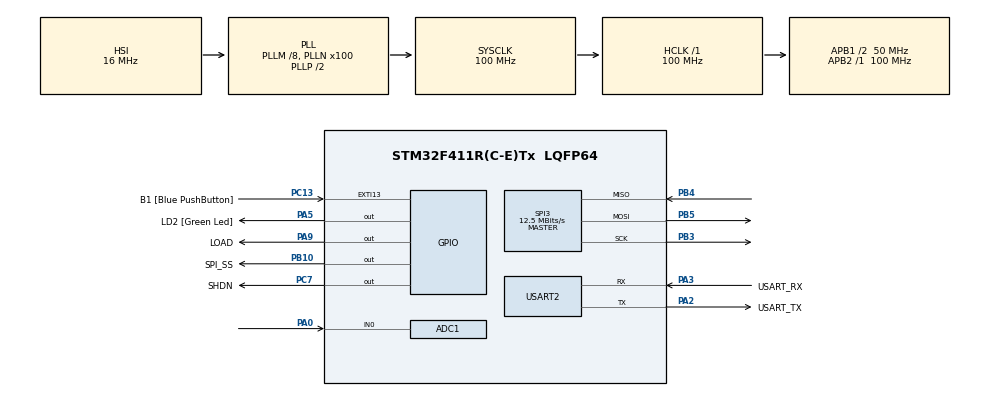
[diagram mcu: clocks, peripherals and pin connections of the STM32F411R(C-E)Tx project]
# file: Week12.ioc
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Mcu.Family=STM32F4
PB10.PinState=GPIO_PIN_SET
RCC.CortexFreq_Value=100000000
SPI3.Direction=SPI_DIRECTION_2LINES
SPI3.VirtualType=VM_MASTER
PA14.GPIO_Label=TCK
RCC.SYSCLKSource=RCC_SYSCLKSOURCE_PLLCLK
ProjectManager.StackSize=0x400
NVIC.ADC_IRQn=true\:0\:0\:false\:false\:true\:true\:true
PH0\ -\ OSC_IN.Signal=RCC_OSC_IN
RCC.HCLKFreq_Value=100000000
RCC.APB2TimFreq_Value=100000000
TIM3.Period=100
Dma.ADC1.0.Direction=DMA_PERIPH_TO_MEMORY
PC7.Signal=GPIO_Output
NVIC.DMA2_Stream0_IRQn=true\:0\:0\:false\:false\:true\:false\:true
Dma.ADC1.0.MemDataAlignment=DMA_MDATAALIGN_HALFWORD
RCC.AHBFreq_Value=100000000
SPI3.DataSize=SPI_DATASIZE_16BIT
ADC1.Channel-0\#ChannelRegularConversion=ADC_CHANNEL_0
NVIC.TIM1_TRG_COM_TIM11_IRQn=true\:0\:0\:false\:false\:true\:true\:true
RCC.HSE_VALUE=8000000
PB3.Mode=Full_Duplex_Master
ADC1.ScanConvMode=ENABLE
PC13-ANTI_TAMP.Signal=GPXTI13
PB4.Mode=Full_Duplex_Master
PC14-OSC32_IN.Mode=LSE-External-Oscillator
PA14.Mode=Serial_Wire
TIM3.Prescaler=99
Dma.ADC1.0.PeriphInc=DMA_PINC_DISABLE
PB5.Mode=Full_Duplex_Master
PC7.PinState=GPIO_PIN_SET
SH.ADCx_IN0.0=ADC1_IN0,IN0
ADC1.SamplingTime-0\#ChannelRegularConversion=ADC_SAMPLETIME_3CYCLES
RCC.FLatency-AdvancedSettings=FLASH_LATENCY_3
Mcu.Package=LQFP64
SPI3.Mode=SPI_MODE_MASTER
USART2.VirtualMode=VM_ASYNC
PA2.GPIO_Label=USART_TX
NVIC.SPI3_IRQn=true\:0\:0\:false\:false\:true\:true\:true
RCC.APB1TimFreq_Value=100000000
Dma.ADC1.0.FIFOMode=DMA_FIFOMODE_DISABLE
Dma.Request0=ADC1
VP_TIM3_VS_ClockSourceINT.Mode=Internal
PB4.Signal=SPI3_MISO
PA3.Signal=USART2_RX
PC15-OSC32_OUT.Mode=LSE-External-Oscillator
Dma.ADC1.0.Instance=DMA2_Stream0
ADC1.Rank-0\#ChannelRegularConversion=1
PC13-ANTI_TAMP.GPIO_Label=B1 [Blue PushButton]
PA9.GPIO_Label=LOAD
PH1\ -\ OSC_OUT.Mode=HSE-External-Clock-Source
TIM11.Prescaler=99
RCC.APB1CLKDivider=RCC_HCLK_DIV2
PC14-OSC32_IN.Signal=RCC_OSC32_IN
PA0-WKUP.Signal=ADCx_IN0
VP_TIM11_VS_ClockSourceINT.Mode=Enable_Timer
PA13.Signal=SYS_JTMS-SWDIO
PA3.Mode=Asynchronous
Dma.ADC1.0.PeriphDataAlignment=DMA_PDATAALIGN_HALFWORD
PH0\ -\ OSC_IN.Mode=HSE-External-Clock-Source
ProjectManager.TargetToolchain=STM32CubeIDE
PB10.GPIO_Label=SPI_SS
Dma.ADC1.0.Mode=DMA_NORMAL
Dma.ADC1.0.Priority=DMA_PRIORITY_LOW
PA9.Signal=GPIO_Output
PA9.PinState=GPIO_PIN_SET
PC15-OSC32_OUT.Signal=RCC_OSC32_OUT
PB10.Signal=GPIO_Output
PA5.Signal=GPIO_Output
PH1\ -\ OSC_OUT.Signal=RCC_OSC_OUT
board=NUCLEO-F411RE
RCC.VCOOutputFreq_Value=200000000
RCC.APB2Freq_Value=100000000
SPI3.CalculateBaudRate=12.5 MBits/s
SPI3.BaudRatePrescaler=SPI_BAUDRATEPRESCALER_4
ADC1.DMAContinuousRequests=ENABLE
PA13.Mode=Serial_Wire
Mcu.Name=STM32F411R(C-E)Tx
PA2.Signal=USART2_TX
PA13.GPIO_Label=TMS
ADC1.ExternalTrigConv=ADC_EXTERNALTRIGCONV_T3_TRGO
PC7.GPIO_Label=SHDN
RCC.48MHZClocksFreq_Value=50000000
PB3.Signal=SPI3_SCK
RCC.SYSCLKFreq_VALUE=100000000
PB5.Signal=SPI3_MOSI
ADC1.master=1
PA5.GPIO_Label=LD2 [Green Led]
PC13-ANTI_TAMP.GPIO_ModeDefaultEXTI=GPIO_MODE_IT_FALLING
PA14.Signal=SYS_JTCK-SWCLK
Dma.ADC1.0.MemInc=DMA_MINC_ENABLE
ProjectManager.HeapSize=0x200
RCC.HSI_VALUE=16000000
NVIC.PriorityGroup=NVIC_PRIORITYGROUP_0
ADC1.NbrOfConversionFlag=1
RCC.PLLM=8
RCC.PLLN=100
PA2.Mode=Asynchronous
TIM3.TIM_MasterOutputTrigger=TIM_TRGO_UPDATE
RCC.APB1Freq_Value=50000000
PA3.GPIO_Label=USART_RX

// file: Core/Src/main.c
/* USER CODE BEGIN Header */
/**
 ******************************************************************************
 * @file           : main.c
 * @brief          : Main program body
 ******************************************************************************
 * @attention
 *
 * <h2><center>&copy; Copyright (c) 2021 STMicroelectronics.
 * All rights reserved.</center></h2>
 *
 * This software component is licensed by ST under BSD 3-Clause license,
 * the "License"; You may not use this file except in compliance with the
 * License. You may obtain a copy of the License at:
 *                        opensource.org/licenses/BSD-3-Clause
 *
 ******************************************************************************
 */
/* USER CODE END Header */
#include "main.h"

/* USER CODE BEGIN Includes */
#include <math.h>
#include <stdio.h>
#include <string.h>
/* USER CODE END Includes */

ADC_HandleTypeDef hadc1;
DMA_HandleTypeDef hdma_adc1;
SPI_HandleTypeDef hspi3;
TIM_HandleTypeDef htim3;
TIM_HandleTypeDef htim11;
UART_HandleTypeDef huart2;
char TxDataBuffer[32] = {0};
char RxDataBuffer[32] = {0};
char temp[100] = {0};
char frequency[100] = {0};
char V_high[100] = {0};
char V_low[100] = {0};
uint32_t State = 0;
int16_t inputchar = 0;
float  f = 1;
float  Vh = 0;
float  Vl = 0;
int Duty = 0;
int Check = 0;
int16_t sinewave = 0;
int16_t sawtooth = 0;
int16_t square = 0;
int Check_Slope = 0;
enum _State
{
	State_Start = 0,
	State_Mainmenu_Print = 10,
	State_Mainmenu_WaitInput,
	State_Menu0_Print = 20,
	State_Menu0_WaitInput,
	State_Menu1_Print = 30,
	State_Menu1_WaitInput,
	State_Menu2_Print = 40,
	State_Menu2_WaitInput
};

/* USER CODE BEGIN PV */
uint16_t ADCin = 0;
uint64_t _micro = 0;
uint16_t dataOut = 0;
uint8_t DACConfig = 0b0011;
/* USER CODE END PV */

void SystemClock_Config(void);
static void MX_GPIO_Init(void);
static void MX_DMA_Init(void);
static void MX_USART2_UART_Init(void);
static void MX_SPI3_Init(void);
static void MX_ADC1_Init(void);
static void MX_TIM3_Init(void);
static void MX_TIM11_Init(void);
/* USER CODE BEGIN PFP */
void MCP4922SetOutput(uint8_t Config, uint16_t DACOutput);
uint64_t micros();
int16_t UARTRecieveIT();
/* USER CODE END PFP */

int main(void)
{

  /* MCU Configuration--------------------------------------------------------*/

  /* Reset of all peripherals, Initializes the Flash interface and the Systick. */
  HAL_Init();

  /* Configure the system clock */
  SystemClock_Config();

  /* Initialize all configured peripherals */
  MX_GPIO_Init();
  MX_DMA_Init();
  MX_USART2_UART_Init();
  MX_SPI3_Init();
  MX_ADC1_Init();
  MX_TIM3_Init();
  MX_TIM11_Init();
  /* USER CODE BEGIN 2 */
	HAL_TIM_Base_Start(&htim3);
	HAL_TIM_Base_Start_IT(&htim11);
	HAL_ADC_Start_DMA(&hadc1, (uint32_t*) &ADCin, 1);

	HAL_GPIO_WritePin(LOAD_GPIO_Port, LOAD_Pin, GPIO_PIN_RESET);
  /* USER CODE END 2 */

  /* Infinite loop */
  /* USER CODE BEGIN WHILE */
	while (1)
	{
		HAL_UART_Receive_IT(&huart2,(uint8_t*)RxDataBuffer, 32);
		inputchar = UARTRecieveIT();
		static uint64_t timestamp = 0;

		switch (State)
		{
			case State_Start:
				State = State_Mainmenu_Print;
				break;
			case State_Mainmenu_Print:
			{
				char temp[] = "***** Main Menu *****\r\n ""0: Sawtooth wave\r\n ""1: Sine wave\r\n ""2: Square wave\r\n\r\n";
				 HAL_UART_Transmit(&huart2, (uint8_t*)temp, strlen(temp), 1000);
				 State = State_Mainmenu_WaitInput;
				 break;
			}
			case State_Mainmenu_WaitInput:
				switch (inputchar)
				{
					case -1:    // no input
					{
						break;
					}
					case '0':  // Sawtooth wave
					{
						State = State_Menu0_Print;
						break;
					}
					case '1':  // Sine wave
					{
						State = State_Menu1_Print;
						break;
					}
					case '2':  // Square wave
					{
						State = State_Menu2_Print;
						break;
					}
					default:   // error
					{
						 char temp[] = "***** Please Press again *****\r\n";
						 HAL_UART_Transmit(&huart2, (uint8_t*)temp, strlen(temp), 1000);
						 State = State_Mainmenu_Print;
						 break;
					}
				}
				break;
			case State_Menu0_Print:
			{
				char temp[] = "***** Mode 0: Sawtooth wave*****\r\n "
						"1: frequency +0.1 Hz\r\n "
						"2: frequency -0.1 Hz\r\n "
						"3: V high +0.1V\r\n "
						"4: V low -0.1V\r\n "
						"5: V high +0.1V\r\n "
						"6: V low -0.1V\r\n "
						"7: Slope Up/Slope Down\r\n "
						"x: back\r\n \r\n";
				HAL_UART_Transmit(&huart2, (uint8_t*)temp, strlen(temp), 1000);
				State = State_Menu0_WaitInput;
				break;
			}
			case State_Menu0_WaitInput:
				switch (inputchar)
				{
					case -1:    // no input
					{
						break;
					}
					case '1':  // +0.1Hz
					{
						f += 0.1;
						if (f<10)
						{

							f = 10;
						}
						sprintf(frequency, "***** frequency: %f Hz *****\r\n", f);
						HAL_UART_Transmit(&huart2, (uint8_t*)frequency, strlen(frequency), 1000);
						State = State_Menu0_Print;
						break;
					}
					case '2':  // -0.1Hz
					{
						f -= 0.1;
						if (f<0)
						{
							f = 0;
						}
						//1.2 = 12 10*hz
						sprintf(frequency, "***** frequency: %f Hz *****\r\n", f);
						HAL_UART_Transmit(&huart2, (uint8_t*)frequency, strlen(frequency), 1000);
						State = State_Menu0_Print;
						break;
					}
					case '3': // V_high +0.1v
					{
						Vh += 0.1;
						if (Vh<3.3)
						{
							Vh = 3.3;
						}
						sprintf(V_high, "***** V high: %f v *****\r\n", Vh);
						HAL_UART_Transmit(&huart2, (uint8_t*)V_high, strlen(V_high), 1000);
						State = State_Menu0_Print;
						break;
					}
					case '4':  // V_high -0.1v
					{
						Vh -= 0.1;
						if (Vh<0)
						{
							Vh = 0;
						}
						sprintf(V_high, "***** V high: %f v *****\r\n", Vh);
						HAL_UART_Transmit(&huart2, (uint8_t*)V_high, strlen(V_high), 1000);
						State = State_Menu0_Print;
						break;
					}
					case '5': //  V_low +0.1v
					{
						Vl += 0.1;
						if (Vl>3.3)
						{
							Vl = 3.3;
						}
						sprintf(V_low, "***** V low: %f v *****\r\n", Vl);
						HAL_UART_Transmit(&huart2, (uint8_t*)V_low, strlen(V_low), 1000);
						State = State_Menu0_Print;
						break;
					}
					case '6':  // V_low -0.1v
					{
						Vl -= 0.1;
						if (Vl<0)
						{
							Vl = 0;
						}
						sprintf(V_low, "***** V low: %f v *****\r\n", Vl);
						HAL_UART_Transmit(&huart2, (uint8_t*)V_low, strlen(V_low), 1000);
						State = State_Menu0_Print;
						break;
					}
					case '7': // Slope Up = 0 /Slope Down = 1
					{
						if (Check_Slope == 0)
						{
							Check_Slope = 1;
							break;
						}
						else
						{
							Check_Slope = 0;
							break;
						}
						State = State_Menu0_Print;
						break;
					}
					case 'x':  // back
					{
						State = State_Mainmenu_Print;
						break;
					}
					default:   // error
					{
						 char temp[] = "***** Please Press again *****\r\n";
						 HAL_UART_Transmit(&huart2, (uint8_t*)temp, strlen(temp), 1000);
						 State = State_Menu0_Print;
						 break;
					}
				}
				break;
			case State_Menu1_Print:
			{
				char temp[] = "***** Mode 1: Sine wave *****\r\n "
						"1: frequency +0.1 Hz\r\n "
						"2: frequency -0.1 Hz\r\n "
						"3: V high +0.1V\r\n "
						"4: V low -0.1V\r\n "
						"5: V high +0.1V\r\n "
						"6: V low -0.1V\r\n "
						"x: back\r\n \r\n";
				HAL_UART_Transmit(&huart2, (uint8_t*)temp, strlen(temp), 1000);
				State = State_Menu1_WaitInput;
				break;
			}
			case State_Menu1_WaitInput:
				switch (inputchar)
				{
					case -1:    // no input
					{
						break;
					}
					case '1':  // +0.1Hz
					{
						f += 0.1;
						if (f>10)
						{
							f = 10;
						}
						sprintf(frequency, "***** frequency: %f Hz *****\r\n", f);
						HAL_UART_Transmit(&huart2, (uint8_t*)frequency, strlen(frequency), 1000);
						State = State_Menu1_Print;
						break;
					}
					case '2':  // -0.1Hz
					{
						f -= 0.1;
						if (f<0)
						{
							f = 0;
						}
						sprintf(frequency, "***** frequency: %f Hz *****\r\n", f);
						HAL_UART_Transmit(&huart2, (uint8_t*)frequency, strlen(frequency), 1000);
						State = State_Menu1_Print;
						break;
					}
					case '3': // V_high +0.1v
					{
						Vh += 0.1;
						if (Vh>3.3)
						{
							Vh = 3.3;
						}
						sprintf(V_high, "***** V high: %f v *****\r\n", Vh);
						HAL_UART_Transmit(&huart2, (uint8_t*)V_high, strlen(V_high), 1000);
						State = State_Menu1_Print;
						break;
					}
					case '4':  // V_high -0.1v
					{
						Vh -= 0.1;
						if (Vh<0)
						{
							Vh = 0;
						}
						sprintf(V_high, "***** V high: %f v *****\r\n", Vh);
						HAL_UART_Transmit(&huart2, (uint8_t*)V_high, strlen(V_high), 1000);
						State = State_Menu1_Print;
						break;
					}
					case '5': //  V_low +0.1v
					{
						Vl += 0.1;
						if (Vl>3.3)
						{
							Vl = 3.3;
						}
						sprintf(V_low, "***** V low: %f v *****\r\n", Vl);
						HAL_UART_Transmit(&huart2, (uint8_t*)V_low, strlen(V_low), 1000);
						State = State_Menu1_Print;
						break;
					}
					case '6':  // V_low -0.1v
					{
						Vl -= 0.1;
						if (Vl<0)
						{
							Vl = 0;
						}
						sprintf(V_low, "***** V low: %f v *****\r\n", Vl);
						HAL_UART_Transmit(&huart2, (uint8_t*)V_low, strlen(V_low), 1000);
						State = State_Menu1_Print;
						break;
					}
					case 'x':  // back
					{
						State = State_Mainmenu_Print;
						break;
					}
					default:   // error
					{
						 char temp[] = "***** Please Press again *****\r\n";
						 HAL_UART_Transmit(&huart2, (uint8_t*)temp, strlen(temp), 1000);
						 State = State_Menu1_Print;
						 break;
					}

				}
				break;
			case State_Menu2_Print:
			{
				char temp[] = "***** Mode 2: Square wave *****\r\n "
										"1: frequency +0.1 Hz\r\n "
										"2: frequency -0.1 Hz\r\n "
										"3: V high +0.1V\r\n "
										"4: V low -0.1V\r\n "
										"5: V high +0.1V\r\n "
										"6: V low -0.1V\r\n "
										"7: Duty +10%\r\n "
										"8: Duty -10%\r\n "
										"x: back\r\n \r\n";
				HAL_UART_Transmit(&huart2, (uint8_t*)temp, strlen(temp), 1000);
				State = State_Menu2_WaitInput;
				break;
			}
			case State_Menu2_WaitInput:
				switch (inputchar)
				{
					case -1:    // no input
					{
						break;
					}
					case '1':  // +0.1Hz
					{
						f += 0.1;
						if (f>10)
						{
							f = 10;
						}
						sprintf(frequency, "***** frequency: %f Hz *****\r\n", f);
						HAL_UART_Transmit(&huart2, (uint8_t*)frequency, strlen(frequency), 1000);
						State = State_Menu2_Print;
						break;
					}
					case '2':  // -0.1Hz
					{
						f -= 0.1;
						if (f<0)
						{
							f = 0;
						}
						sprintf(frequency, "***** frequency: %f Hz *****\r\n", f);
						HAL_UART_Transmit(&huart2, (uint8_t*)frequency, strlen(frequency), 1000);
						State = State_Menu2_Print;
						break;
					}
					case '3': // V_high +0.1v
					{
						Vh += 0.1;
						if (Vh>3.3)
						{
							Vh = 3.3;
						}
						sprintf(V_high, "***** V high: %f v *****\r\n", Vh);
						HAL_UART_Transmit(&huart2, (uint8_t*)V_high, strlen(V_high), 1000);
						State = State_Menu2_Print;
						break;
					}
					case '4':  // V_high -0.1v
					{
						Vh -= 0.1;
						if (Vh<0)
						{
							Vh = 0;
						}
						sprintf(V_high, "***** V high: %f v *****\r\n", Vh);
						HAL_UART_Transmit(&huart2, (uint8_t*)V_high, strlen(V_high), 1000);
						State = State_Menu2_Print;
						break;
					}
					case '5': //  V_low +0.1v
					{
						Vl += 0.1;
						if (Vl>3.3)
						{
							Vl = 3.3;
						}
						sprintf(V_low, "***** V low: %f v *****\r\n", Vl);
						HAL_UART_Transmit(&huart2, (uint8_t*)V_low, strlen(V_low), 1000);
						State = State_Menu2_Print;
						break;
					}
					case '6':  // V_low -0.1v
					{
						Vl -= 0.1;
						if (Vl<0)
						{
							Vl = 0;
						}
						sprintf(V_low, "***** V low: %f v *****\r\n", Vl);
						HAL_UART_Transmit(&huart2, (uint8_t*)V_low, strlen(V_low), 1000);
						State = State_Menu2_Print;
						break;
					}
					case '7':  // Duty +10%
					{
						Duty += 10;
						State = State_Menu2_Print;
						break;
					}
					case '8':  // Duty -10%
					{
						Duty -= 10;
						State = State_Menu2_Print;
						break;
					}
					case 'x':  // back
					{
						State = State_Mainmenu_Print;
						break;
					}
					default:   // error
					{
						 char temp[] = "***** Please Press again *****\r\n";
						 HAL_UART_Transmit(&huart2, (uint8_t*)temp, strlen(temp), 1000);
						 State = State_Menu2_Print;
						 break;
					}
				}
				break;
		}

		// sawtooth wave
		if (State == 21)
		{
			if (micros() - timestamp > 1000) // L -> H
			{
				timestamp = micros();
				if (Check_Slope == 0) // (Slope Up)
				{
					sawtooth = (((int)((Vh-Vl)*(4096.0/3.3)*f*(timestamp/1000000.0))) % ((int)((Vh-Vl)*(4096.0/3.3)))+(Vl*(4096.0/3.3))); // L -> H
				}
				else // (Slope Down)
				{
					sawtooth = (((int)((Vh-Vl)*(4096.0/3.3)*f*(timestamp/1000000.0))) % ((int) ((Vh-Vl)*(4096.0/3.3))) + (Vh*(4096.0/3.3)) +(Vl*(4096.0/3.3)));  //  H -> L
				}
				if (hspi3.State == HAL_SPI_STATE_READY && HAL_GPIO_ReadPin(SPI_SS_GPIO_Port, SPI_SS_Pin) == GPIO_PIN_SET)
				{
					MCP4922SetOutput(DACConfig, sawtooth);
				}
			}
		}

		// sine wave
		if (State == 31)
		{
			if (micros() - timestamp > 1000)
			{
				timestamp = micros();
				sinewave = ((Vh-Vl)*(4096.0/3.3)*sin(2.0*3.141*f*(timestamp/1000000)))+((Vh-Vl)*(4096.0/3.3)/2.0)+(Vl*(4096.0/3.3)); // A*sin(w*t)
				if (hspi3.State == HAL_SPI_STATE_READY
						&& HAL_GPIO_ReadPin(SPI_SS_GPIO_Port, SPI_SS_Pin) == GPIO_PIN_SET)
				{
					MCP4922SetOutput(DACConfig, sinewave);
				}
			}
		}

		// square wave
		if (State == 41)
		{
			if (Check == 0)
			{
				timestamp = micros();
				Check = 1;
			}
			else if (micros() < timestamp + ((Duty/100) *(1000000.0/f)))
			{
				square = Vh*(4095/3.3);
			}
			else if (micros() < timestamp + (1000000.0/f))
			{
				square = Vl*(4096/3.3);
			}
			else
			{
				Check = 0;
			}

			if (hspi3.State == HAL_SPI_STATE_READY
					&& HAL_GPIO_ReadPin(SPI_SS_GPIO_Port, SPI_SS_Pin) == GPIO_PIN_SET)
			{
				MCP4922SetOutput(DACConfig, square);
			}

		}

    /* USER CODE END WHILE */

	}
}

void SystemClock_Config(void)
{
  RCC_OscInitTypeDef RCC_OscInitStruct = {0};
  RCC_ClkInitTypeDef RCC_ClkInitStruct ={0};

  /** Configure the main internal regulator output voltage
  */
  __HAL_RCC_PWR_CLK_ENABLE();
  __HAL_PWR_VOLTAGESCALING_CONFIG(PWR_REGULATOR_VOLTAGE_SCALE1);
  /** Initializes the RCC Oscillators according to the specified parameters
  * in the RCC_OscInitTypeDef structure.
  */
  RCC_OscInitStruct.OscillatorType = RCC_OSCILLATORTYPE_HSI;
  RCC_OscInitStruct.HSIState = RCC_HSI_ON;
  RCC_OscInitStruct.HSICalibrationValue = RCC_HSICALIBRATION_DEFAULT;
  RCC_OscInitStruct.PLL.PLLState = RCC_PLL_ON;
  RCC_OscInitStruct.PLL.PLLSource = RCC_PLLSOURCE_HSI;
  RCC_OscInitStruct.PLL.PLLM = 8;
  RCC_OscInitStruct.PLL.PLLN = 100;
  RCC_OscInitStruct.PLL.PLLP = RCC_PLLP_DIV2;
  RCC_OscInitStruct.PLL.PLLQ = 4;
  if (HAL_RCC_OscConfig(&RCC_OscInitStruct) != HAL_OK)
  {
    Error_Handler();
  }
  /** Initializes the CPU, AHB and APB buses clocks
  */
  RCC_ClkInitStruct.ClockType = RCC_CLOCKTYPE_HCLK|RCC_CLOCKTYPE_SYSCLK
                              |RCC_CLOCKTYPE_PCLK1|RCC_CLOCKTYPE_PCLK2;
  RCC_ClkInitStruct.SYSCLKSource = RCC_SYSCLKSOURCE_PLLCLK;
  RCC_ClkInitStruct.AHBCLKDivider = RCC_SYSCLK_DIV1;
  RCC_ClkInitStruct.APB1CLKDivider = RCC_HCLK_DIV2;
  RCC_ClkInitStruct.APB2CLKDivider = RCC_HCLK_DIV1;

  if (HAL_RCC_ClockConfig(&RCC_ClkInitStruct, FLASH_LATENCY_3) != HAL_OK)
  {
    Error_Handler();
  }
}

static void MX_ADC1_Init(void)
{

  ADC_ChannelConfTypeDef sConfig = {0};

  /** Configure the global features of the ADC (Clock, Resolution, Data Alignment and number of conversion)
  */
  hadc1.Instance = ADC1;
  hadc1.Init.ClockPrescaler = ADC_CLOCK_SYNC_PCLK_DIV4;
  hadc1.Init.Resolution = ADC_RESOLUTION_12B;
  hadc1.Init.ScanConvMode = ENABLE;
  hadc1.Init.ContinuousConvMode = DISABLE;
  hadc1.Init.DiscontinuousConvMode = DISABLE;
  hadc1.Init.ExternalTrigConvEdge = ADC_EXTERNALTRIGCONVEDGE_RISING;
  hadc1.Init.ExternalTrigConv = ADC_EXTERNALTRIGCONV_T3_TRGO;
  hadc1.Init.DataAlign = ADC_DATAALIGN_RIGHT;
  hadc1.Init.NbrOfConversion = 1;
  hadc1.Init.DMAContinuousRequests = ENABLE;
  hadc1.Init.EOCSelection = ADC_EOC_SINGLE_CONV;
  if (HAL_ADC_Init(&hadc1) != HAL_OK)
  {
    Error_Handler();
  }
  /** Configure for the selected ADC regular channel its corresponding rank in the sequencer and its sample time.
  */
  sConfig.Channel = ADC_CHANNEL_0;
  sConfig.Rank = 1;
  sConfig.SamplingTime = ADC_SAMPLETIME_3CYCLES;
  if (HAL_ADC_ConfigChannel(&hadc1, &sConfig) != HAL_OK)
  {
    Error_Handler();
  }

}

static void MX_SPI3_Init(void)
{

  /* SPI3 parameter configuration*/
  hspi3.Instance = SPI3;
  hspi3.Init.Mode = SPI_MODE_MASTER;
  hspi3.Init.Direction = SPI_DIRECTION_2LINES;
  hspi3.Init.DataSize = SPI_DATASIZE_16BIT;
  hspi3.Init.CLKPolarity = SPI_POLARITY_LOW;
  hspi3.Init.CLKPhase = SPI_PHASE_1EDGE;
  hspi3.Init.NSS = SPI_NSS_SOFT;
  hspi3.Init.BaudRatePrescaler = SPI_BAUDRATEPRESCALER_4;
  hspi3.Init.FirstBit = SPI_FIRSTBIT_MSB;
  hspi3.Init.TIMode = SPI_TIMODE_DISABLE;
  hspi3.Init.CRCCalculation = SPI_CRCCALCULATION_DISABLE;
  hspi3.Init.CRCPolynomial = 10;
  if (HAL_SPI_Init(&hspi3) != HAL_OK)
  {
    Error_Handler();
  }

}

static void MX_TIM3_Init(void)
{

  TIM_ClockConfigTypeDef sClockSourceConfig = {0};
  TIM_MasterConfigTypeDef sMasterConfig = {0};

  htim3.Instance = TIM3;
  htim3.Init.Prescaler = 99;
  htim3.Init.CounterMode = TIM_COUNTERMODE_UP;
  htim3.Init.Period = 100;
  htim3.Init.ClockDivision = TIM_CLOCKDIVISION_DIV1;
  htim3.Init.AutoReloadPreload = TIM_AUTORELOAD_PRELOAD_DISABLE;
  if (HAL_TIM_Base_Init(&htim3) != HAL_OK)
  {
    Error_Handler();
  }
  sClockSourceConfig.ClockSource = TIM_CLOCKSOURCE_INTERNAL;
  if (HAL_TIM_ConfigClockSource(&htim3, &sClockSourceConfig) != HAL_OK)
  {
    Error_Handler();
  }
  sMasterConfig.MasterOutputTrigger = TIM_TRGO_UPDATE;
  sMasterConfig.MasterSlaveMode = TIM_MASTERSLAVEMODE_DISABLE;
  if (HAL_TIMEx_MasterConfigSynchronization(&htim3, &sMasterConfig) != HAL_OK)
  {
    Error_Handler();
  }

}

static void MX_TIM11_Init(void)
{

  htim11.Instance = TIM11;
  htim11.Init.Prescaler = 99;
  htim11.Init.CounterMode = TIM_COUNTERMODE_UP;
  htim11.Init.Period = 65535;
  htim11.Init.ClockDivision = TIM_CLOCKDIVISION_DIV1;
  htim11.Init.AutoReloadPreload = TIM_AUTORELOAD_PRELOAD_DISABLE;
  if (HAL_TIM_Base_Init(&htim11) != HAL_OK)
  {
    Error_Handler();
  }

}

static void MX_USART2_UART_Init(void)
{

  huart2.Instance = USART2;
  huart2.Init.BaudRate = 115200;
  huart2.Init.WordLength = UART_WORDLENGTH_8B;
  huart2.Init.StopBits = UART_STOPBITS_1;
  huart2.Init.Parity = UART_PARITY_NONE;
  huart2.Init.Mode = UART_MODE_TX_RX;
  huart2.Init.HwFlowCtl = UART_HWCONTROL_NONE;
  huart2.Init.OverSampling = UART_OVERSAMPLING_16;
  if (HAL_UART_Init(&huart2) != HAL_OK)
  {
    Error_Handler();
  }

}

static void MX_DMA_Init(void)
{

  /* DMA controller clock enable */
  __HAL_RCC_DMA2_CLK_ENABLE();

  /* DMA interrupt init */
  /* DMA2_Stream0_IRQn interrupt configuration */
  HAL_NVIC_SetPriority(DMA2_Stream0_IRQn, 0, 0);
  HAL_NVIC_EnableIRQ(DMA2_Stream0_IRQn);

}

static void MX_GPIO_Init(void)
{
  GPIO_InitTypeDef GPIO_InitStruct = {0};

  /* GPIO Ports Clock Enable */
  __HAL_RCC_GPIOC_CLK_ENABLE();
  __HAL_RCC_GPIOH_CLK_ENABLE();
  __HAL_RCC_GPIOA_CLK_ENABLE();
  __HAL_RCC_GPIOB_CLK_ENABLE();

  /*Configure GPIO pin Output Level */
  HAL_GPIO_WritePin(LD2_GPIO_Port, LD2_Pin, GPIO_PIN_RESET);

  /*Configure GPIO pin Output Level */
  HAL_GPIO_WritePin(SPI_SS_GPIO_Port, SPI_SS_Pin, GPIO_PIN_SET);

  /*Configure GPIO pin Output Level */
  HAL_GPIO_WritePin(SHDN_GPIO_Port, SHDN_Pin, GPIO_PIN_SET);

  /*Configure GPIO pin Output Level */
  HAL_GPIO_WritePin(LOAD_GPIO_Port, LOAD_Pin, GPIO_PIN_SET);

  /*Configure GPIO pin : B1_Pin */
  GPIO_InitStruct.Pin = B1_Pin;
  GPIO_InitStruct.Mode = GPIO_MODE_IT_FALLING;
  GPIO_InitStruct.Pull = GPIO_NOPULL;
  HAL_GPIO_Init(B1_GPIO_Port, &GPIO_InitStruct);

  /*Configure GPIO pins : LD2_Pin LOAD_Pin */
  GPIO_InitStruct.Pin = LD2_Pin|LOAD_Pin;
  GPIO_InitStruct.Mode = GPIO_MODE_OUTPUT_PP;
  GPIO_InitStruct.Pull = GPIO_NOPULL;
  GPIO_InitStruct.Speed = GPIO_SPEED_FREQ_LOW;
  HAL_GPIO_Init(GPIOA, &GPIO_InitStruct);

  /*Configure GPIO pin : SPI_SS_Pin */
  GPIO_InitStruct.Pin = SPI_SS_Pin;
  GPIO_InitStruct.Mode = GPIO_MODE_OUTPUT_PP;
  GPIO_InitStruct.Pull = GPIO_NOPULL;
  GPIO_InitStruct.Speed = GPIO_SPEED_FREQ_LOW;
  HAL_GPIO_Init(SPI_SS_GPIO_Port, &GPIO_InitStruct);

  /*Configure GPIO pin : SHDN_Pin */
  GPIO_InitStruct.Pin = SHDN_Pin;
  GPIO_InitStruct.Mode = GPIO_MODE_OUTPUT_PP;
  GPIO_InitStruct.Pull = GPIO_NOPULL;
  GPIO_InitStruct.Speed = GPIO_SPEED_FREQ_LOW;
  HAL_GPIO_Init(SHDN_GPIO_Port, &GPIO_InitStruct);

}

/* USER CODE BEGIN 4 */
void MCP4922SetOutput(uint8_t Config, uint16_t DACOutput)
{
	uint32_t OutputPacket = (DACOutput & 0x0fff) | ((Config & 0xf) << 12);
	HAL_GPIO_WritePin(SPI_SS_GPIO_Port, SPI_SS_Pin, GPIO_PIN_RESET);
	HAL_SPI_Transmit_IT(&hspi3, &OutputPacket, 1);
}

void HAL_SPI_TxCpltCallback(SPI_HandleTypeDef *hspi)
{
	if (hspi == &hspi3)
	{
		HAL_GPIO_WritePin(SPI_SS_GPIO_Port, SPI_SS_Pin, GPIO_PIN_SET);
	}
}

void HAL_TIM_PeriodElapsedCallback(TIM_HandleTypeDef *htim)
{
	if (htim == &htim11)
	{
		_micro += 65535;
	}
}

inline uint64_t micros()
{
	return htim11.Instance->CNT + _micro;
}

void UARTRecieveAndResponsePolling()
{
	// create Buffer
	char Recieve[32] = {0};

	// start Receive in Polling mode
	HAL_UART_Receive(&huart2, (uint8_t*)Recieve, 32, 1000);

	// create Feedback Text
	sprintf(TxDataBuffer, "Received:[%s]\r\n", Recieve);

	// sent Text
	HAL_UART_Transmit(&huart2, (uint8_t*)TxDataBuffer, strlen(TxDataBuffer), 1000);
}

int16_t UARTRecieveIT()
{
	// store data last position
	static uint32_t dataPos = 0;
	// create dummy data
	int16_t data = -1;

	// check Pos in buffer VS last position
	if(huart2.RxXferSize - huart2.RxXferCount != dataPos)
	{
		// read data from Buffer
		data = RxDataBuffer[dataPos];

		 // move to next Pos
		dataPos = (dataPos+1) %huart2.RxXferSize;
	}
	return data;
}

void HAL_UART_RxCpltCallback(UART_HandleTypeDef *huart)
{
	sprintf(TxDataBuffer, "Received:[%s]\r\n", RxDataBuffer);
	HAL_UART_Transmit(&huart2, (uint8_t*)TxDataBuffer, strlen(TxDataBuffer), 1000);
}

/* USER CODE END 4 */

void Error_Handler(void)
{
	__disable_irq();
	while (1)
	{
	}
}

/************************ (C) COPYRIGHT STMicroelectronics *****END OF FILE****/
